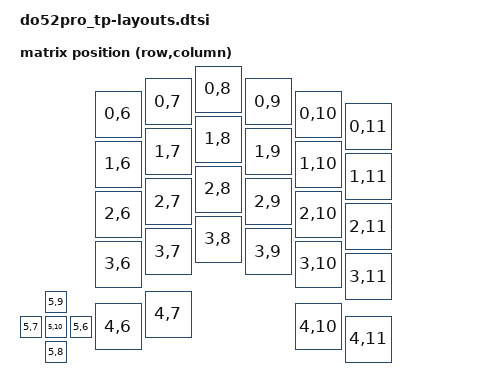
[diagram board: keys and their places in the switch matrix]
#include <physical_layouts.dtsi>

/ {
    default_transform: keymap_transform_0 {
        compatible = "zmk,matrix-transform";
        columns = <12>;
        rows = <6>;
        map = <
            RC(0,6) RC(0,7) RC(0,8) RC(0,9) RC(0,10) RC(0,11)
            RC(1,6) RC(1,7) RC(1,8) RC(1,9) RC(1,10) RC(1,11)
            RC(2,6) RC(2,7) RC(2,8) RC(2,9) RC(2,10) RC(2,11)
            RC(3,6) RC(3,7) RC(3,8) RC(3,9) RC(3,10) RC(3,11)
            RC(4,6) RC(4,7)                 RC(4,10) RC(4,11)

            // DPAD (Right)
            RC(5,7) RC(5,8) RC(5,10) RC(5,9) RC(5,6)
        >;
    };

    physical_layout0: physical_layout0 {
        compatible = "zmk,physical-layout";
        display-name = "Do52 Right Only";
        kscan = <&kscan0>;
        transform = <&default_transform>;
        keys =//                     w   h    x    y     rot    rx    ry
              // Number row
              <&key_physical_attrs 100 100  150   50       0     0     0>
            , <&key_physical_attrs 100 100  250   25       0     0     0>
            , <&key_physical_attrs 100 100  350    0       0     0     0>
            , <&key_physical_attrs 100 100  450   25       0     0     0>
            , <&key_physical_attrs 100 100  550   50       0     0     0>
            , <&key_physical_attrs 100 100  650   75       0     0     0>
            // Top letter row
            , <&key_physical_attrs 100 100  150  150       0     0     0>
            , <&key_physical_attrs 100 100  250  125       0     0     0>
            , <&key_physical_attrs 100 100  350  100       0     0     0>
            , <&key_physical_attrs 100 100  450  125       0     0     0>
            , <&key_physical_attrs 100 100  550  150       0     0     0>
            , <&key_physical_attrs 100 100  650  175       0     0     0>
            // Middle letter row
            , <&key_physical_attrs 100 100  150  250       0     0     0>
            , <&key_physical_attrs 100 100  250  225       0     0     0>
            , <&key_physical_attrs 100 100  350  200       0     0     0>
            , <&key_physical_attrs 100 100  450  225       0     0     0>
            , <&key_physical_attrs 100 100  550  250       0     0     0>
            , <&key_physical_attrs 100 100  650  275       0     0     0>
            // Bottom letter row
            , <&key_physical_attrs 100 100  150  350       0     0     0>
            , <&key_physical_attrs 100 100  250  325       0     0     0>
            , <&key_physical_attrs 100 100  350  300       0     0     0>
            , <&key_physical_attrs 100 100  450  325       0     0     0>
            , <&key_physical_attrs 100 100  550  350       0     0     0>
            , <&key_physical_attrs 100 100  650  375       0     0     0>
            // Thumb row
            , <&key_physical_attrs 100 100  150  475       0     0     0>
            , <&key_physical_attrs 100 100  250  450       0     0     0>
            , <&key_physical_attrs 100 100  550  475       0     0     0>
            , <&key_physical_attrs 100 100  650  500       0     0     0>
            // DPAD
            , <&key_physical_attrs  50  50    0  500       0     0     0>
            , <&key_physical_attrs  50  50   50  550       0     0     0>
            , <&key_physical_attrs  50  50   50  500       0     0     0>
            , <&key_physical_attrs  50  50   50  450       0     0     0>
            , <&key_physical_attrs  50  50  100  500       0     0     0>
            ;
    };
};
